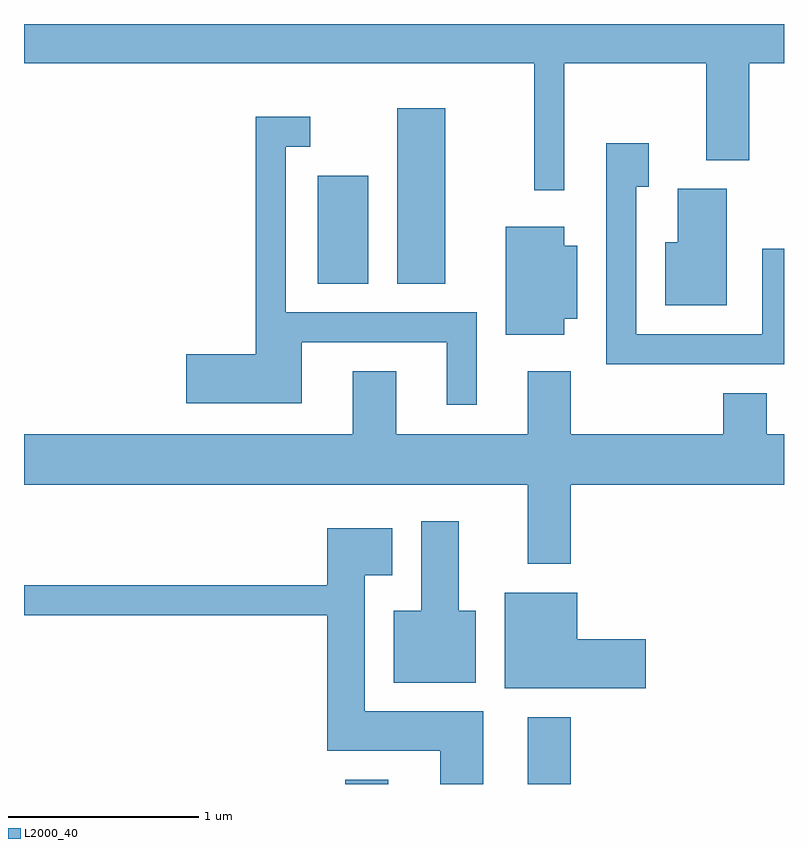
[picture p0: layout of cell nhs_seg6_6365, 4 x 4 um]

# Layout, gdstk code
import gdstk
lib = gdstk.Library(unit=1e-6, precision=1e-09)
def R(c, l, rs):  # rectangles x0, y0, x1, y1
    for r in rs: c.add(gdstk.rectangle(r[:2], r[2:], *l))
def P(c, l, *ps):  # polygons
    for p in ps: c.add(gdstk.Polygon(p, *l))
L2000_40 = (2000, 40)

nhs_seg6_6365 = lib.new_cell('nhs_seg6_6365')
R(nhs_seg6_6365, L2000_40, [(379.301,1626.162,379.529,1626.184), (380.261,1626.162,380.489,1626.514), (379.156,1628.796,379.424,1629.364), (379.576,1628.796,379.829,1629.719)])
P(nhs_seg6_6365, L2000_40, [(380.454,1629.956),(381.201,1629.956),(381.201,1629.446),(381.429,1629.446),(381.429,1629.956),(381.611,1629.956),(381.611,1630.162),(377.611,1630.162),(377.611,1629.956),(380.296,1629.956),(380.296,1629.288),(380.454,1629.288)],
  [(379.994,1628.644),(378.989,1628.644),(378.989,1629.516),(379.118,1629.516),(379.118,1629.674),(378.831,1629.674),(378.831,1628.424),(378.466,1628.424),(378.466,1628.166),(379.074,1628.166),(379.074,1628.486),(379.836,1628.486),(379.836,1628.158),(379.994,1628.158)],
  [(381.611,1628.978),(381.496,1628.978),(381.496,1628.529),(380.834,1628.529),(380.834,1629.306),(380.899,1629.306),(380.899,1629.534),(380.676,1629.534),(380.676,1628.371),(381.611,1628.371)],
  [(381.309,1629.294),(381.051,1629.294),(381.051,1629.014),(380.986,1629.014),(380.986,1628.681),(381.309,1628.681)],
  [(380.454,1628.611),(380.524,1628.611),(380.524,1628.994),(380.454,1628.994),(380.454,1629.094),(380.146,1629.094),(380.146,1628.526),(380.454,1628.526)],
  [(380.489,1627.736),(381.611,1627.736),(381.611,1628.004),(381.519,1628.004),(381.519,1628.219),(381.291,1628.219),(381.291,1628.004),(380.489,1628.004),(380.489,1628.334),(380.261,1628.334),(380.261,1628.004),(379.569,1628.004),(379.569,1628.334),(379.341,1628.334),(379.341,1628.004),(377.611,1628.004),(377.611,1627.736),(380.261,1627.736),(380.261,1627.321),(380.489,1627.321)],
  [(379.989,1627.074),(379.899,1627.074),(379.899,1627.544),(379.701,1627.544),(379.701,1627.074),(379.556,1627.074),(379.556,1626.696),(379.989,1626.696)],
  [(380.029,1626.544),(379.404,1626.544),(379.404,1627.261),(379.549,1627.261),(379.549,1627.509),(379.206,1627.509),(379.206,1627.209),(377.611,1627.209),(377.611,1627.051),(379.206,1627.051),(379.206,1626.336),(379.801,1626.336),(379.801,1626.162),(380.029,1626.162)],
  [(380.884,1626.924),(380.524,1626.924),(380.524,1627.169),(380.141,1627.169),(380.141,1626.666),(380.884,1626.666)])

lib.write_gds('nhs_seg6_6365.gds')
